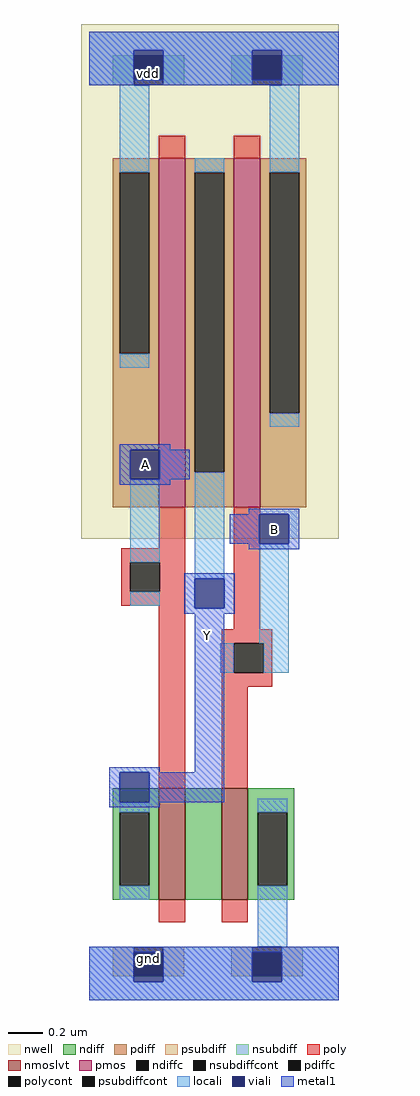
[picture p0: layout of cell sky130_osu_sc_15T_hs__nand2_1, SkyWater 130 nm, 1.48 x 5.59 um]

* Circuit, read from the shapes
.subckt sky130_osu_sc_15T_hs__nand2_1 Y A B
XM1 n1 A Y gnd sky130_fd_pr__nfet_01v8_lvt w=0.64 l=0.15
XM2 gnd B n1 gnd sky130_fd_pr__nfet_01v8_lvt w=0.64 l=0.15
XM3 Y A vdd vdd sky130_fd_pr__pfet_01v8 w=2 l=0.15
XM4 vdd B Y vdd sky130_fd_pr__pfet_01v8 w=2 l=0.15
.ends

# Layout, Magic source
magic
tech sky130A
magscale 1 2
<< nwell >>
rect -9 529 286 1119
<< nmoslvt >>
rect 80 115 110 243
rect 152 115 182 243
<< pmos >>
rect 80 565 110 965
rect 166 565 196 965
<< ndiff >>
rect 27 215 80 243
rect 27 131 35 215
rect 69 131 80 215
rect 27 115 80 131
rect 110 115 152 243
rect 182 215 235 243
rect 182 131 193 215
rect 227 131 235 215
rect 182 115 235 131
<< pdiff >>
rect 27 949 80 965
rect 27 741 35 949
rect 69 741 80 949
rect 27 565 80 741
rect 110 949 166 965
rect 110 605 121 949
rect 155 605 166 949
rect 110 565 166 605
rect 196 949 249 965
rect 196 673 207 949
rect 241 673 249 949
rect 196 565 249 673
<< ndiffc >>
rect 35 131 69 215
rect 193 131 227 215
<< pdiffc >>
rect 35 741 69 949
rect 121 605 155 949
rect 207 673 241 949
<< psubdiff >>
rect 27 27 51 61
rect 85 27 109 61
rect 163 27 187 61
rect 221 27 245 61
<< nsubdiff >>
rect 27 1049 51 1083
rect 85 1049 109 1083
rect 163 1049 187 1083
rect 221 1049 245 1083
<< psubdiffcont >>
rect 51 27 85 61
rect 187 27 221 61
<< nsubdiffcont >>
rect 51 1049 85 1083
rect 187 1049 221 1083
<< poly >>
rect 80 965 110 991
rect 166 965 196 991
rect 80 518 110 565
rect 37 502 110 518
rect 37 468 47 502
rect 81 468 110 502
rect 37 452 110 468
rect 80 243 110 452
rect 166 425 196 565
rect 152 409 210 425
rect 152 375 166 409
rect 200 375 210 409
rect 152 359 210 375
rect 152 243 182 359
rect 80 89 110 115
rect 152 89 182 115
<< polycont >>
rect 47 468 81 502
rect 166 375 200 409
<< locali >>
rect 0 1089 286 1110
rect 0 1049 51 1089
rect 85 1049 187 1089
rect 221 1049 286 1089
rect 35 949 69 1049
rect 35 725 69 741
rect 121 949 155 965
rect 47 502 81 597
rect 47 452 81 468
rect 207 949 241 1049
rect 207 657 241 673
rect 121 483 155 605
rect 195 409 229 523
rect 150 375 166 409
rect 200 375 229 409
rect 35 215 69 227
rect 35 115 69 131
rect 193 215 227 231
rect 193 61 227 131
rect 0 21 51 61
rect 85 21 187 61
rect 221 21 286 61
rect 0 0 286 21
<< viali >>
rect 51 1083 85 1089
rect 51 1055 85 1083
rect 187 1083 221 1089
rect 187 1055 221 1083
rect 47 597 81 631
rect 121 449 155 483
rect 195 523 229 557
rect 35 227 69 261
rect 51 27 85 55
rect 51 21 85 27
rect 187 27 221 55
rect 187 21 221 27
<< metal1 >>
rect 0 1089 286 1110
rect 0 1055 51 1089
rect 85 1055 187 1089
rect 221 1055 286 1089
rect 0 1049 286 1055
rect 35 631 93 637
rect 35 597 47 631
rect 81 597 115 631
rect 35 591 93 597
rect 183 557 241 563
rect 161 523 195 557
rect 229 523 241 557
rect 183 517 241 523
rect 109 483 167 489
rect 109 449 121 483
rect 155 449 167 483
rect 109 443 167 449
rect 23 261 81 267
rect 121 261 155 443
rect 23 227 35 261
rect 69 227 155 261
rect 23 221 81 227
rect 0 55 286 61
rect 0 21 51 55
rect 85 21 187 55
rect 221 21 286 55
rect 0 0 286 21
<< labels >>
rlabel metal1 136 418 136 418 1 Y
port 1 n
rlabel viali 64 614 64 614 1 A
port 2 n
rlabel viali 212 540 212 540 1 B
port 3 n
rlabel viali 68 48 68 48 1 gnd
rlabel viali 68 1062 68 1062 1 vdd
<< end >>
